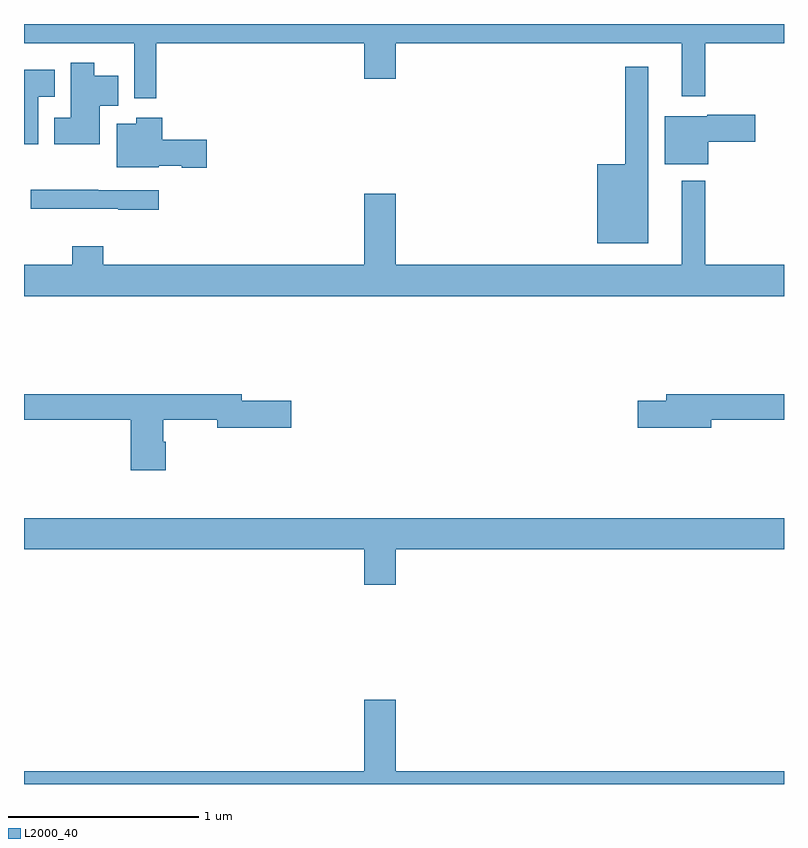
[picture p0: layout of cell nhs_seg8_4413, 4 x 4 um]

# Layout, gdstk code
import gdstk
lib = gdstk.Library(unit=1e-6, precision=1e-09)
def P(c, l, *ps):  # polygons
    for p in ps: c.add(gdstk.Polygon(p, *l))
L2000_40 = (2000, 40)

nhs_seg8_4413 = lib.new_cell('nhs_seg8_4413')
P(nhs_seg8_4413, L2000_40, [(379,1149.8),(379.581,1149.8),(379.581,1149.51),(379.697,1149.51),(379.697,1149.8),(380.792,1149.8),(380.792,1149.612),(380.956,1149.612),(380.956,1149.8),(382.463,1149.8),(382.463,1149.519),(382.585,1149.519),(382.585,1149.8),(383,1149.8),(383,1149.9),(379,1149.9)],
  [(379.399,1149.47),(379.496,1149.47),(379.496,1149.628),(379.369,1149.628),(379.369,1149.697),(379.247,1149.697),(379.247,1149.406),(379.159,1149.406),(379.159,1149.266),(379.399,1149.266)],
  [(382.285,1149.676),(382.164,1149.676),(382.164,1149.163),(382.016,1149.163),(382.016,1148.747),(382.285,1148.747)],
  [(379.074,1149.518),(379.162,1149.518),(379.162,1149.658),(379,1149.658),(379,1149.266),(379.074,1149.266)],
  [(382.6,1149.281),(382.849,1149.281),(382.849,1149.423),(382.596,1149.423),(382.596,1149.415),(382.373,1149.415),(382.373,1149.161),(382.6,1149.161)],
  [(379.963,1149.29),(379.727,1149.29),(379.727,1149.406),(379.592,1149.406),(379.592,1149.376),(379.487,1149.376),(379.487,1149.146),(379.71,1149.146),(379.71,1149.155),(379.83,1149.155),(379.83,1149.143),(379.963,1149.143)],
  [(383,1148.632),(382.585,1148.632),(382.585,1149.076),(382.463,1149.076),(382.463,1148.632),(380.956,1148.632),(380.956,1149.007),(380.792,1149.007),(380.792,1148.632),(379.418,1148.632),(379.418,1148.731),(379.253,1148.731),(379.253,1148.632),(379,1148.632),(379,1148.468),(383,1148.468)],
  [(379.708,1149.024),(379.391,1149.024),(379.391,1149.027),(379.035,1149.027),(379.035,1148.927),(379.495,1148.927),(379.495,1148.923),(379.708,1148.923)],
  [(382.618,1147.816),(383,1147.816),(383,1147.952),(382.379,1147.952),(382.379,1147.916),(382.23,1147.916),(382.23,1147.774),(382.618,1147.774)],
  [(379.745,1147.701),(379.732,1147.701),(379.732,1147.816),(380.018,1147.816),(380.018,1147.774),(380.407,1147.774),(380.407,1147.916),(380.146,1147.916),(380.146,1147.952),(379,1147.952),(379,1147.816),(379.562,1147.816),(379.562,1147.551),(379.745,1147.551)],
  [(380.956,1147.136),(383,1147.136),(383,1147.3),(379,1147.3),(379,1147.136),(380.792,1147.136),(380.792,1146.948),(380.956,1146.948)],
  [(383,1145.968),(380.956,1145.968),(380.956,1146.343),(380.792,1146.343),(380.792,1145.968),(379,1145.968),(379,1145.9),(383,1145.9)])

lib.write_gds('nhs_seg8_4413.gds')
